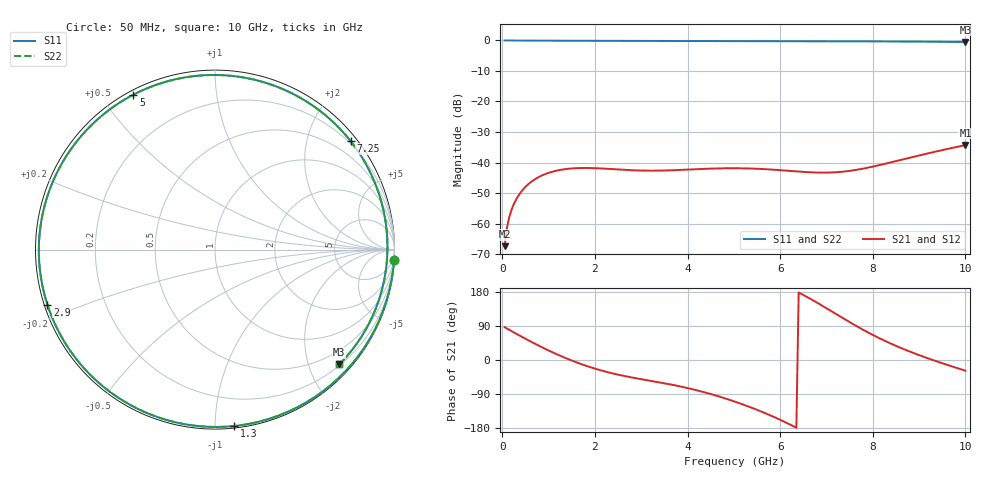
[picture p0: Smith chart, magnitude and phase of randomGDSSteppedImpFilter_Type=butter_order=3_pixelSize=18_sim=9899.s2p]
! freq	dB(S11)	phase(S11)	dB(S12)	phase(S12)
!  dB(S21)	phase(S21)	dB(S22)	phase(S22)
!S-par simulation data
#  GHz  S  DB  R 50
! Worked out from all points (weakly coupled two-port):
!   200 points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, 50 MHz to 10 GHz, reference 50 ohm
!   highest |S21| = -34.28 dB at 10 GHz (marker M1); lowest = -67.4 dB at 50 MHz (marker M2)
!   lowest |S11| = -0.5 dB at 10 GHz (marker M3), VSWR 33.78, Z = 11.1 - j127 ohm
!   |S11| at or under -10 dB: nowhere
!   |S22| runs from -0.5 to 0.0 dB; largest |S21 - S12| = 0
!   S11 on the Smith chart (normalised r, x): 50 MHz: 0, -33; 1.3 GHz: 0.01, -1.11; 2.9 GHz: 0.01, -0.16; 5 GHz: 0.02, +0.60; 7.25 GHz: 0.15, +2.84; 10 GHz: 0.22, -2.54
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0.05  -0.00 -3.5  -67.41 86.5  -67.41 86.5  -0.00 -3.5
0.1  -0.01 -6.9  -61.41 83.0  -61.41 83.0  -0.01 -6.9
0.15  -0.01 -10.4  -57.92 79.6  -57.92 79.6  -0.01 -10.4
0.25  -0.02 -17.2  -53.59 72.7  -53.59 72.7  -0.02 -17.2
0.4  -0.04 -27.3  -49.72 62.7  -49.72 62.7  -0.04 -27.3
0.6  -0.05 -40.6  -46.61 49.6  -46.61 49.6  -0.05 -40.6
0.85  -0.07 -56.7  -44.29 34.0  -44.29 34.0  -0.07 -56.7
1.3  -0.10 -83.8  -42.30 8.6  -42.30 8.6  -0.10 -83.8
1.75  -0.12 -108.4  -41.79 -12.8  -41.79 -12.8  -0.12 -108.4
2.35  -0.14 -137.7  -42.13 -34.4  -42.13 -34.4  -0.14 -137.7
2.9  -0.15 -161.9  -42.59 -48.4  -42.59 -48.4  -0.15 -161.9
3.4  -0.16 177.8  -42.66 -59.2  -42.66 -59.2  -0.16 177.8
4.15  -0.19 149.0  -42.22 -78.4  -42.22 -78.4  -0.19 149.0
5  -0.21 117.8  -41.87 -108.9  -41.87 -108.9  -0.21 117.8
5.05  -0.22 116.0  -41.88 -111.0  -41.88 -111.0  -0.22 115.9
5.85  -0.24 87.2  -42.34 -149.4  -42.34 -149.4  -0.24 87.2
6.7  -0.27 57.4  -43.24 158.1  -43.24 158.1  -0.27 57.4
7.25  -0.29 38.7  -43.15 118.2  -43.15 118.2  -0.29 38.7
7.8  -0.31 20.6  -41.98 79.1  -41.98 79.1  -0.31 20.6
8.35  -0.34 3.4  -40.10 45.5  -40.10 45.5  -0.34 3.4
9.1  -0.40 -18.6  -37.33 8.4  -37.33 8.4  -0.40 -18.7
10  -0.51 -42.7  -34.28 -28.1  -34.28 -28.1  -0.51 -42.7
